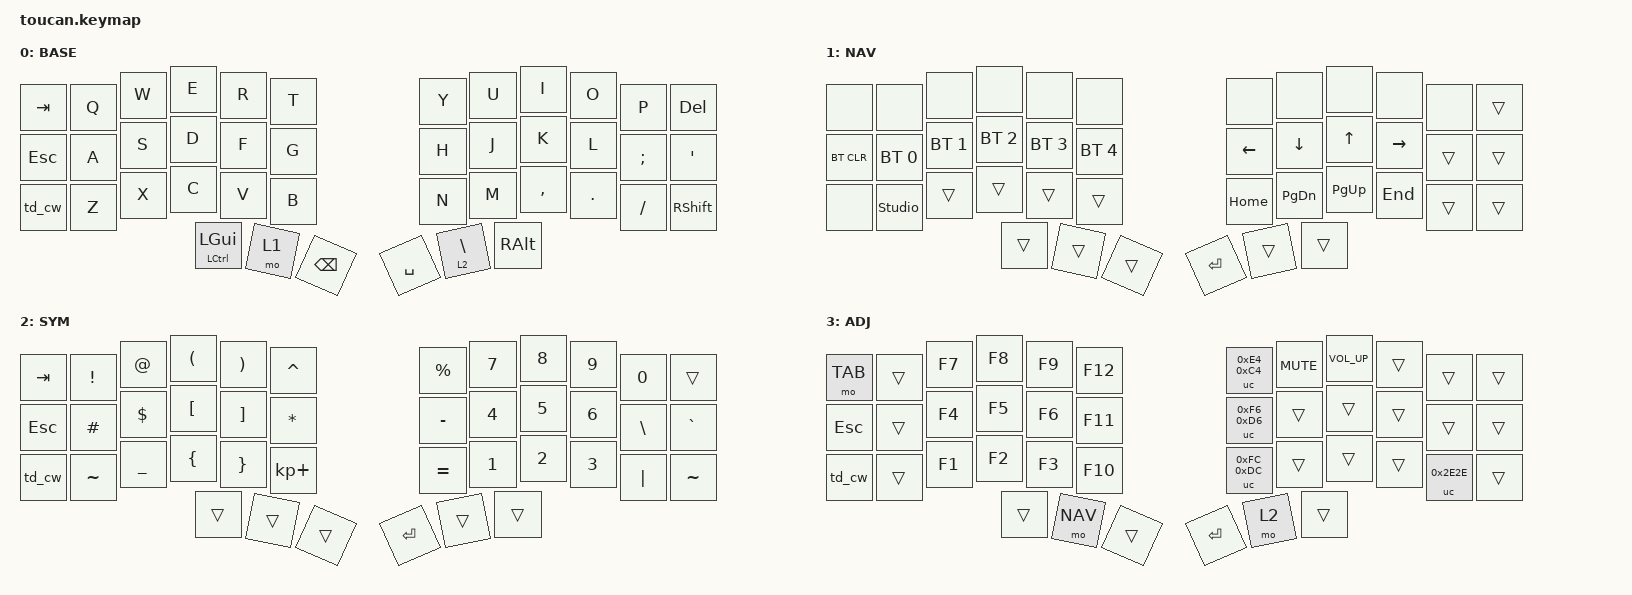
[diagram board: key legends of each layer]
#include <behaviors.dtsi>
#include <behaviors/unicode.dtsi>
#include <dt-bindings/zmk/keys.h>
#include <dt-bindings/zmk/bt.h>
#include <dt-bindings/zmk/outputs.h>

#define BASE 0
#define NAV  1
#define SYM  2
#define ADJ  3

&uc {
  default-mode = <UC_MODE_LINUX_ALT>;
};

/ {
    conditional_layers {
        compatible = "zmk,conditional-layers";
        tri_layer {
            if-layers = <1 2>;
            then-layer = <3>;
        };
    };

    behaviors {
        td_cw: tap_dance_caps_word {
            compatible = "zmk,behavior-tap-dance";
            #binding-cells = <0>;
            tapping-term-ms = <200>;
            bindings = <&kp LSHFT> , <&caps_word>;
        };
    };

    keymap {
        compatible = "zmk,keymap";

        base {
            display-name = "BASE";
            bindings = <
                &kp TAB   &kp Q &kp W &kp E          &kp R &kp T         &kp Y     &kp U  &kp I     &kp O   &kp P    &kp DEL
                &kp ESC   &kp A &kp S &kp D          &kp F &kp G         &kp H     &kp J  &kp K     &kp L   &kp SEMI &kp SQT
                &td_cw    &kp Z &kp X &kp C          &kp V &kp B         &kp N     &kp M  &kp COMMA &kp DOT &kp FSLH &kp RSHFT
                                      &mt LCTRL LGUI &mo 1 &kp BSPC      &kp SPACE &lt 2 BSLH  &kp RALT
            >;
        };

        nav {
            display-name = "NAV";
            bindings = <
                &none       &none           &none        &none        &none        &none            &none    &none       &none      &none     &none  &trans
                &bt BT_CLR  &bt BT_SEL 0    &bt BT_SEL 1 &bt BT_SEL 2 &bt BT_SEL 3 &bt BT_SEL 4     &kp LEFT &kp DOWN    &kp UP     &kp RIGHT &trans &trans
                &none       &studio_unlock  &trans       &trans       &trans       &trans           &kp HOME &kp PG_DN   &kp PG_UP  &kp END   &trans &trans
                                                         &trans       &trans       &trans           &kp RET  &trans      &trans
            >;
        };

        sym {
            display-name = "SYM";
            bindings = <
                &kp TAB   &kp EXCL  &kp AT    &kp LPAR &kp RPAR &kp CARET        &kp PRCNT  &kp N7  &kp N8  &kp N9 &kp N0   &trans
                &kp ESC   &kp HASH  &kp DLLR  &kp LBKT &kp RBKT &kp STAR         &kp MINUS  &kp N4  &kp N5  &kp N6 &kp BSLH &kp GRAVE
                &td_cw    &kp TILDE &kp UNDER &kp LBRC &kp RBRC &kp KP_PLUS      &kp EQUAL  &kp N1  &kp N2  &kp N3 &kp PIPE &kp TILDE
                                              &trans   &trans   &trans           &kp RET     &trans  &trans
            >;
        };

        adj {
            display-name = "ADJ";
            bindings = <
                &mo TAB   &trans &kp F7 &kp F8 &kp F9 &kp F12   &uc 0xE4 0xC4       &kp C_MUTE  &kp C_VOL_UP &trans &trans &trans
                &kp ESC   &trans &kp F4 &kp F5 &kp F6 &kp F11   &uc 0xF6 0xD6       &trans      &trans       &trans &trans &trans
                &td_cw    &trans &kp F1 &kp F2 &kp F3 &kp F10   &uc 0xFC 0xDC       &trans      &trans       &trans &uc 0x2E2E &trans
                                        &trans &mo NAV &trans   &kp RET             &mo 2       &trans
            >;
        };
        extra_1 {
                status = "reserved";
        };

        extra_2 {
                status = "reserved";
        };

        extra_3 {
                status = "reserved";
        };
    };
};
